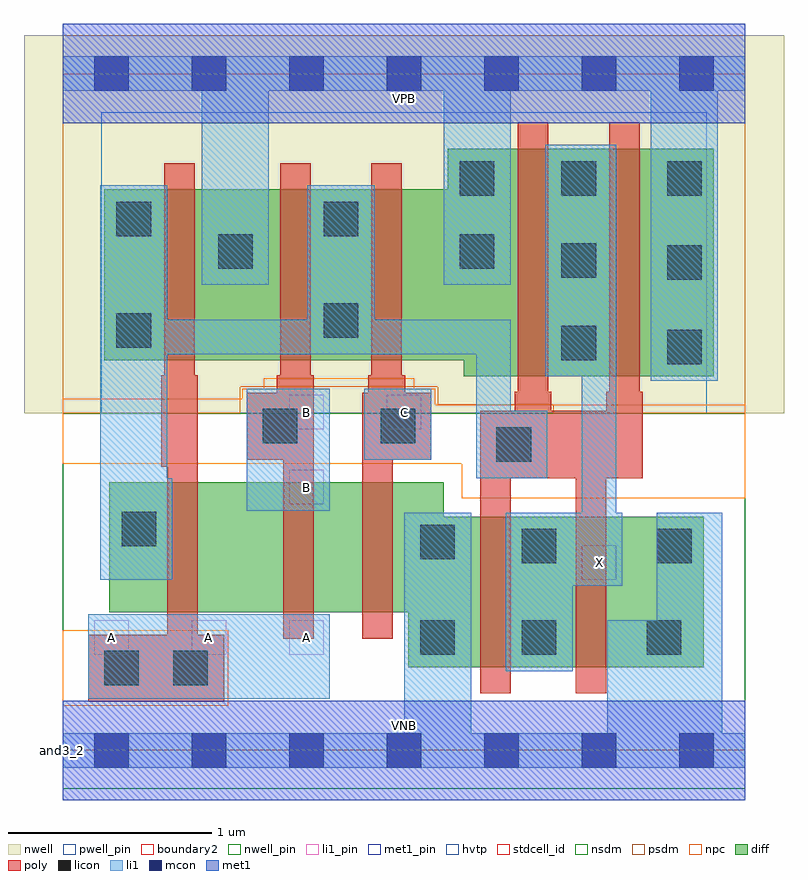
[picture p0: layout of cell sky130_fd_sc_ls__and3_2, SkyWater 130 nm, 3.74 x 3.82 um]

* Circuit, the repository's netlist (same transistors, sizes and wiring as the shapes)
* Copyright 2020 The SkyWater PDK Authors
*
* Licensed under the Apache License, Version 2.0 (the "License");
* you may not use this file except in compliance with the License.
* You may obtain a copy of the License at
*
*     https://www.apache.org/licenses/LICENSE-2.0
*
* Unless required by applicable law or agreed to in writing, software
* distributed under the License is distributed on an "AS IS" BASIS,
* WITHOUT WARRANTIES OR CONDITIONS OF ANY KIND, either express or implied.
* See the License for the specific language governing permissions and
* limitations under the License.
*
* SPDX-License-Identifier: Apache-2.0

.SUBCKT sky130_fd_sc_ls__and3_2 A B C VGND VNB VPB VPWR X
*.PININFO A:I B:I C:I VGND:I VNB:I VPB:I VPWR:I X:O
MMP0 y A VPWR VPB sky130_fd_pr__pfet_01v8_hvt m=1 w=0.84U l=0.15U mult=1 sa=0.265
+ sb=0.265 sd=0.28 area=0.063 perim=1.14
MMP1 y B VPWR VPB sky130_fd_pr__pfet_01v8_hvt m=1 w=0.84U l=0.15U mult=1 sa=0.265
+ sb=0.265 sd=0.28 area=0.063 perim=1.14
MMP2 y C VPWR VPB sky130_fd_pr__pfet_01v8_hvt m=1 w=0.84U l=0.15U mult=1 sa=0.265
+ sb=0.265 sd=0.28 area=0.063 perim=1.14
MMIP0 X y VPWR VPB sky130_fd_pr__pfet_01v8_hvt m=2 w=1.12U l=0.15U mult=1 sa=0.265
+ sb=0.265 sd=0.28 area=0.063 perim=1.14
MMN0 y A sndA VNB sky130_fd_pr__nfet_01v8 m=1 w=0.64U l=0.15U mult=1 sa=0.265 sb=0.265
+ sd=0.28 area=0.063 perim=1.14
MMN1 sndA B sndB VNB sky130_fd_pr__nfet_01v8 m=1 w=0.64U l=0.15U mult=1 sa=0.265
+ sb=0.265 sd=0.28 area=0.063 perim=1.14
MMN2 sndB C VGND VNB sky130_fd_pr__nfet_01v8 m=1 w=0.64U l=0.15U mult=1 sa=0.265
+ sb=0.265 sd=0.28 area=0.063 perim=1.14
MMIN0 X y VGND VNB sky130_fd_pr__nfet_01v8 m=2 w=0.74U l=0.15U mult=1 sa=0.265
+ sb=0.265 sd=0.28 area=0.063 perim=1.14
.ENDS sky130_fd_sc_ls__and3_2

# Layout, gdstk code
import gdstk
lib = gdstk.Library(unit=1e-6, precision=1e-09)
def R(c, l, rs):  # rectangles x0, y0, x1, y1
    for r in rs: c.add(gdstk.rectangle(r[:2], r[2:], *l))
def A(c, l, x, y, w, h, nx, ny, dx, dy):  # array of equal rectangles
    R(c, l, [(x+i*dx, y+j*dy, x+i*dx+w, y+j*dy+h) for i in range(nx) for j in range(ny)])
def P(c, l, *ps):  # polygons
    for p in ps: c.add(gdstk.Polygon(p, *l))
nwell_pin = (64, 16)
nwell = (64, 20)
diff = (65, 20)
poly = (66, 20)
licon = (66, 44)
li1_pin = (67, 16)
li1 = (67, 20)
mcon = (67, 44)
met1_pin = (68, 16)
met1 = (68, 20)
hvtp = (78, 44)
stdcell_id = (81, 4)
nsdm = (93, 44)
psdm = (94, 20)
npc = (95, 20)
pwell_pin = (122, 16)
boundary2 = (236, 0)

sky130_fd_sc_ls__and3_2 = lib.new_cell('sky130_fd_sc_ls__and3_2')
R(sky130_fd_sc_ls__and3_2, nwell_pin, [(0,3.085,3.36,3.33)])
R(sky130_fd_sc_ls__and3_2, nwell, [(-0.19,1.66,3.55,3.52)])
P(sky130_fd_sc_ls__and3_2, diff, [(3.205,2.96),(1.895,2.96),(1.895,2.76),(0.205,2.76),(0.205,1.92),(1.975,1.92),(1.975,1.84),(3.205,1.84)],
  [(3.155,1.15),(1.875,1.15),(1.875,1.32),(0.23,1.32),(0.23,0.68),(1.7,0.68),(1.7,0.41),(3.155,0.41)])
P(sky130_fd_sc_ls__and3_2, poly, [(0.795,0.57),(0.665,0.57),(0.665,1.845),(0.65,1.845),(0.65,2.89),(0.5,2.89),(0.5,1.845),(0.485,1.845),(0.485,1.395),(0.515,1.395),(0.515,0.57),(0.125,0.57),(0.125,0.24),(0.795,0.24)],
  [(1.235,1.845),(1.22,1.845),(1.22,2.89),(1.07,2.89),(1.07,1.845),(1.055,1.845),(1.055,1.76),(0.905,1.76),(0.905,1.43),(1.085,1.43),(1.085,0.55),(1.235,0.55)],
  [(1.815,1.76),(1.685,1.76),(1.685,1.845),(1.67,1.845),(1.67,2.89),(1.52,2.89),(1.52,1.845),(1.505,1.845),(1.505,1.76),(1.475,1.76),(1.475,0.55),(1.625,0.55),(1.625,1.43),(1.815,1.43)],
  [(2.855,1.765),(2.84,1.765),(2.84,3.09),(2.69,3.09),(2.69,1.765),(2.675,1.765),(2.675,1.67),(2.405,1.67),(2.405,1.765),(2.39,1.765),(2.39,3.09),(2.24,3.09),(2.24,1.765),(2.225,1.765),(2.225,1.67),(2.055,1.67),(2.055,0.28),(2.205,0.28),(2.205,1.34),(2.525,1.34),(2.525,0.28),(2.675,0.28),(2.675,1.34),(2.855,1.34)])
A(sky130_fd_sc_ls__and3_2, licon, 2.975, 1.9, 0.17, 0.17, 1, 3, 0, 0.415)
A(sky130_fd_sc_ls__and3_2, licon, 2.455, 1.92, 0.17, 0.17, 1, 3, 0, 0.405)
R(sky130_fd_sc_ls__and3_2, licon, [(0.205,0.32,0.375,0.49), (0.545,0.32,0.715,0.49), (1.76,0.47,1.93,0.64), (2.26,0.47,2.43,0.64), (2.875,0.47,3.045,0.64), (2.26,0.92,2.43,1.09), (2.925,0.92,3.095,1.09), (1.76,0.94,1.93,1.11), (0.29,1.005,0.46,1.175), (2.135,1.42,2.305,1.59), (0.985,1.51,1.155,1.68), (1.565,1.51,1.735,1.68), (0.265,1.98,0.435,2.15), (1.285,2.03,1.455,2.2), (0.765,2.37,0.935,2.54), (1.955,2.37,2.125,2.54), (0.265,2.53,0.435,2.7), (1.285,2.53,1.455,2.7), (1.955,2.73,2.125,2.9)])
A(sky130_fd_sc_ls__and3_2, li1_pin, 0.155, 0.47, 0.17, 0.17, 3, 1, 0.48, 0)
R(sky130_fd_sc_ls__and3_2, li1_pin, [(2.555,0.84,2.725,1.01), (1.115,1.21,1.285,1.38), (1.115,1.58,1.285,1.75), (1.595,1.58,1.765,1.75)])
R(sky130_fd_sc_ls__and3_2, li1, [(0.125,0.255,1.315,0.67), (0.905,1.18,1.315,1.78), (1.485,1.43,1.815,1.78)])
P(sky130_fd_sc_ls__and3_2, li1, [(3.36,0.085),(3.245,0.085),(3.245,1.17),(2.925,1.17),(2.925,0.64),(2.68,0.64),(2.68,0.085),(2.01,0.085),(2.01,1.17),(1.68,1.17),(1.68,0.085),(0,0.085),(0,-0.085),(3.36,-0.085)],
  [(0,3.245),(0,3.415),(3.36,3.415),(3.36,3.245),(3.225,3.245),(3.225,1.82),(2.895,1.82),(2.895,3.245),(2.205,3.245),(2.205,2.29),(1.875,2.29),(1.875,3.245),(1.015,3.245),(1.015,2.29),(0.685,2.29),(0.685,3.245)],
  [(2.18,0.39),(2.18,1.17),(2.555,1.17),(2.555,1.84),(2.375,1.84),(2.375,2.98),(2.725,2.98),(2.725,1.17),(2.755,1.17),(2.755,0.81),(2.51,0.81),(2.51,0.39)],
  [(0.515,2.12),(1.205,2.12),(1.205,2.78),(1.535,2.78),(1.535,2.12),(2.205,2.12),(2.205,1.67),(2.385,1.67),(2.385,1.34),(2.035,1.34),(2.035,1.95),(0.515,1.95),(0.515,1.34),(0.54,1.34),(0.54,0.84),(0.185,0.84),(0.185,2.78),(0.515,2.78)])
A(sky130_fd_sc_ls__and3_2, mcon, 0.155, -0.085, 0.17, 0.17, 7, 2, 0.48, 3.33)
R(sky130_fd_sc_ls__and3_2, met1_pin, [(0,0,3.36,0.245), (0,3.085,3.36,3.33)])
R(sky130_fd_sc_ls__and3_2, met1, [(0,-0.245,3.36,0.245), (0,3.085,3.36,3.575)])
R(sky130_fd_sc_ls__and3_2, hvtp, [(0.19,1.66,3.17,3.14)])
R(sky130_fd_sc_ls__and3_2, stdcell_id, [(0,0,3.36,3.33)])
R(sky130_fd_sc_ls__and3_2, nsdm, [(0,-0.19,3.36,1.66)])
P(sky130_fd_sc_ls__and3_2, psdm, [(3.36,3.52),(0,3.52),(0,1.66),(0.875,1.66),(0.875,1.79),(1.845,1.79),(1.845,1.7),(2.415,1.7),(2.415,1.66),(3.36,1.66)])
R(sky130_fd_sc_ls__and3_2, npc, [(0,0.22,0.815,0.59)])
P(sky130_fd_sc_ls__and3_2, npc, [(3.36,1.7),(1.835,1.7),(1.835,1.78),(1.73,1.78),(1.73,1.83),(0.99,1.83),(0.99,1.78),(0.885,1.78),(0.885,1.73),(0,1.73),(0,1.41),(1.965,1.41),(1.965,1.24),(3.36,1.24)])
R(sky130_fd_sc_ls__and3_2, pwell_pin, [(0,0,3.36,0.245)])
R(sky130_fd_sc_ls__and3_2, boundary2, [(0,0,3.36,3.33)])
sky130_fd_sc_ls__and3_2.add(gdstk.Label('and3_2', (0,0), layer=83, texttype=44))
sky130_fd_sc_ls__and3_2.add(gdstk.Label('VNB', (1.68,0.123), layer=64, texttype=59))
sky130_fd_sc_ls__and3_2.add(gdstk.Label('VPB', (1.68,3.208), layer=64, texttype=5))
sky130_fd_sc_ls__and3_2.add(gdstk.Label('VPWR', (1.68,3.208), layer=68, texttype=5))
sky130_fd_sc_ls__and3_2.add(gdstk.Label('VGND', (1.68,0.123), layer=68, texttype=5))
sky130_fd_sc_ls__and3_2.add(gdstk.Label('C', (1.68,1.665), layer=67, texttype=5))
sky130_fd_sc_ls__and3_2.add(gdstk.Label('X', (2.64,0.925), layer=67, texttype=5))
sky130_fd_sc_ls__and3_2.add(gdstk.Label('A', (0.24,0.555), layer=67, texttype=5))
sky130_fd_sc_ls__and3_2.add(gdstk.Label('A', (0.72,0.555), layer=67, texttype=5))
sky130_fd_sc_ls__and3_2.add(gdstk.Label('A', (1.2,0.555), layer=67, texttype=5))
sky130_fd_sc_ls__and3_2.add(gdstk.Label('B', (1.2,1.295), layer=67, texttype=5))
sky130_fd_sc_ls__and3_2.add(gdstk.Label('B', (1.2,1.665), layer=67, texttype=5))

lib.write_gds('sky130_fd_sc_ls__and3_2.gds')
